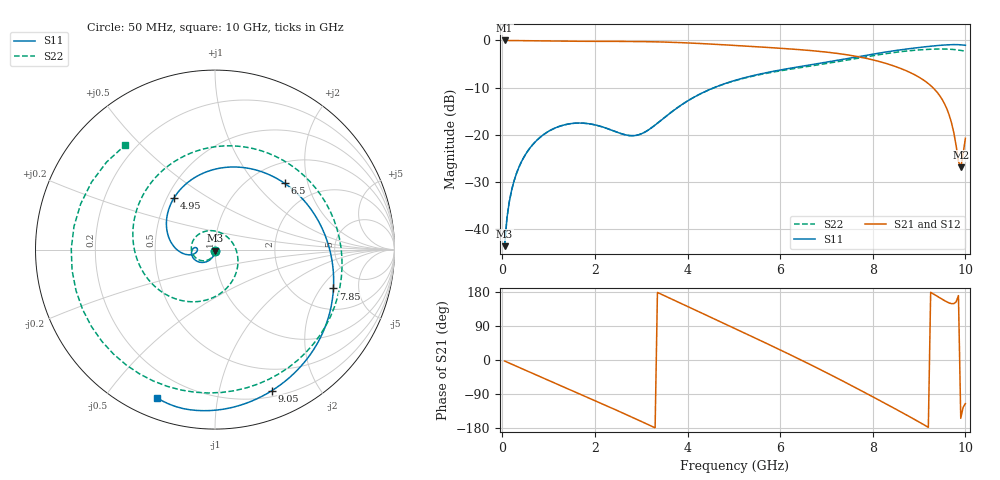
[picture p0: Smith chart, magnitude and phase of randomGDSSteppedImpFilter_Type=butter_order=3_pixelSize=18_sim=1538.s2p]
! freq	dB(S11)	phase(S11)	dB(S12)	phase(S12)
!  dB(S21)	phase(S21)	dB(S22)	phase(S22)
!S-par simulation data
#  GHz  S  DB  R 50
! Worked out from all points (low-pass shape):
!   200 points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, 50 MHz to 10 GHz, reference 50 ohm
!   highest |S21| = 0.00 dB at 50 MHz (marker M1); lowest = -26.9 dB at 9.9 GHz (marker M2)
!   |S21| within 3 dB of the highest: start of sweep to 7.416 GHz
!   lowest |S11| = -43.6 dB at 50 MHz (marker M3), VSWR 1.01, Z = 50 - j0.658 ohm
!   |S11| at or under -10 dB: start of sweep to 4.576 GHz
!   |S22| runs from -43.6 to -1.8 dB; largest |S21 - S12| = 0
!   S11 on the Smith chart (normalised r, x): 50 MHz: 1.00, -0.01; 4.95 GHz: 0.54, +0.36; 6.5 GHz: 1.39, +1.44; 7.85 GHz: 3.19, -2.67; 9.05 GHz: 0.26, -1.45; 10 GHz: 0.09, -0.68
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0.05  -43.63 -91.2  -0.00 -2.7  -0.00 -2.7  -43.63 -91.5
0.2  -31.81 -99.6  -0.02 -10.9  -0.02 -10.9  -31.82 -101.3
0.5  -24.20 -115.3  -0.05 -27.0  -0.05 -27.0  -24.21 -119.7
1.15  -18.53 -146.4  -0.13 -61.7  -0.13 -61.7  -18.53 -158.7
1.75  -17.55 -171.3  -0.18 -93.7  -0.18 -93.7  -17.55 161.9
2.7  -20.11 177.3  -0.21 -145.3  -0.21 -145.3  -20.11 70.1
3.4  -17.17 -168.0  -0.32 175.4  -0.32 175.4  -17.16 -22.9
4.25  -11.46 165.0  -0.64 127.1  -0.64 127.1  -11.47 -92.1
4.95  -8.69 128.4  -1.02 87.2  -1.02 87.2  -8.75 -135.0
5.05  -8.40 122.8  -1.08 81.5  -1.08 81.5  -8.46 -140.9
5.85  -6.55 78.1  -1.56 35.4  -1.56 35.4  -6.71 171.9
6.5  -5.42 43.6  -2.02 -3.0  -2.02 -3.0  -5.66 129.5
6.7  -5.10 33.7  -2.18 -15.0  -2.18 -15.0  -5.36 115.3
7.3  -4.11 5.7  -2.84 -52.2  -2.84 -52.2  -4.41 69.0
7.85  -3.16 -18.2  -3.78 -87.4  -3.78 -87.4  -3.48 22.7
8.35  -2.35 -39.2  -5.07 -120.0  -5.07 -120.0  -2.70 -21.1
8.7  -1.86 -53.7  -6.33 -143.2  -6.33 -143.2  -2.28 -53.1
9.05  -1.44 -68.1  -8.10 -167.1  -8.10 -167.1  -1.97 -87.4
9.45  -1.04 -85.1  -11.78 163.8  -11.78 163.8  -1.81 -134.2
9.7  -0.90 -96.5  -17.46 148.7  -17.46 148.7  -1.89 -171.7
9.9  -0.93 -106.3  -26.94 -154.0  -26.94 -154.0  -2.12 151.3
10  -1.03 -111.1  -20.76 -114.9  -20.76 -114.9  -2.29 130.5
